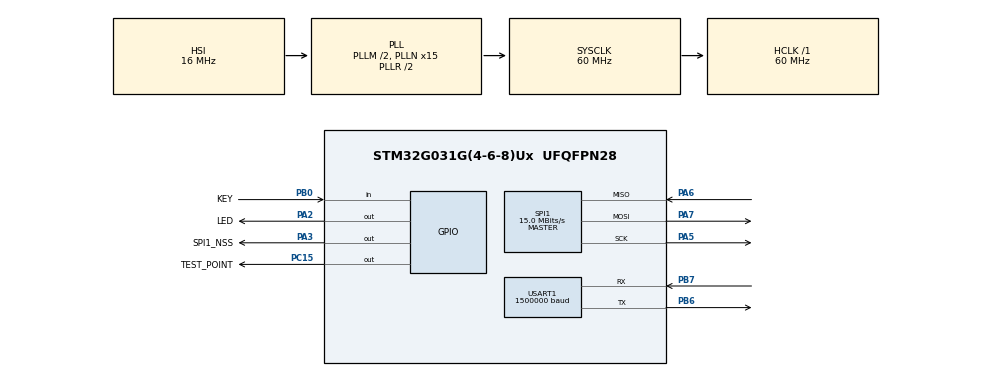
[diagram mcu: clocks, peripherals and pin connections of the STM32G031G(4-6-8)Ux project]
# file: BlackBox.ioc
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Dma.Request0=SPI1_RX
Dma.Request1=SPI1_TX
Dma.Request2=USART1_RX
Dma.SPI1_RX.0.Direction=DMA_PERIPH_TO_MEMORY
Dma.SPI1_RX.0.EventEnable=DISABLE
Dma.SPI1_RX.0.Instance=DMA1_Channel1
Dma.SPI1_RX.0.MemDataAlignment=DMA_MDATAALIGN_BYTE
Dma.SPI1_RX.0.MemInc=DMA_MINC_ENABLE
Dma.SPI1_RX.0.Mode=DMA_NORMAL
Dma.SPI1_RX.0.PeriphDataAlignment=DMA_PDATAALIGN_BYTE
Dma.SPI1_RX.0.PeriphInc=DMA_PINC_DISABLE
Dma.SPI1_RX.0.Polarity=HAL_DMAMUX_REQ_GEN_RISING
Dma.SPI1_RX.0.Priority=DMA_PRIORITY_LOW
Dma.SPI1_RX.0.RequestNumber=1
Dma.SPI1_RX.0.SignalID=NONE
Dma.SPI1_RX.0.SyncEnable=DISABLE
Dma.SPI1_RX.0.SyncPolarity=HAL_DMAMUX_SYNC_NO_EVENT
Dma.SPI1_RX.0.SyncRequestNumber=1
Dma.SPI1_RX.0.SyncSignalID=NONE
Dma.SPI1_TX.1.Direction=DMA_MEMORY_TO_PERIPH
Dma.SPI1_TX.1.EventEnable=DISABLE
Dma.SPI1_TX.1.Instance=DMA1_Channel2
Dma.SPI1_TX.1.MemDataAlignment=DMA_MDATAALIGN_BYTE
Dma.SPI1_TX.1.MemInc=DMA_MINC_ENABLE
Dma.SPI1_TX.1.Mode=DMA_NORMAL
Dma.SPI1_TX.1.PeriphDataAlignment=DMA_PDATAALIGN_BYTE
Dma.SPI1_TX.1.PeriphInc=DMA_PINC_DISABLE
Dma.SPI1_TX.1.Polarity=HAL_DMAMUX_REQ_GEN_RISING
Dma.SPI1_TX.1.Priority=DMA_PRIORITY_LOW
Dma.SPI1_TX.1.RequestNumber=1
Dma.SPI1_TX.1.SignalID=NONE
Dma.SPI1_TX.1.SyncEnable=DISABLE
Dma.SPI1_TX.1.SyncPolarity=HAL_DMAMUX_SYNC_NO_EVENT
Dma.SPI1_TX.1.SyncRequestNumber=1
Dma.SPI1_TX.1.SyncSignalID=NONE
Dma.USART1_RX.2.Direction=DMA_PERIPH_TO_MEMORY
Dma.USART1_RX.2.EventEnable=DISABLE
Dma.USART1_RX.2.Instance=DMA1_Channel3
Dma.USART1_RX.2.MemDataAlignment=DMA_MDATAALIGN_BYTE
Dma.USART1_RX.2.MemInc=DMA_MINC_ENABLE
Dma.USART1_RX.2.Mode=DMA_CIRCULAR
Dma.USART1_RX.2.PeriphDataAlignment=DMA_PDATAALIGN_BYTE
Dma.USART1_RX.2.PeriphInc=DMA_PINC_DISABLE
Dma.USART1_RX.2.Polarity=HAL_DMAMUX_REQ_GEN_RISING
Dma.USART1_RX.2.Priority=DMA_PRIORITY_LOW
Dma.USART1_RX.2.RequestNumber=1
Dma.USART1_RX.2.SignalID=NONE
Dma.USART1_RX.2.SyncEnable=DISABLE
Dma.USART1_RX.2.SyncPolarity=HAL_DMAMUX_SYNC_NO_EVENT
Dma.USART1_RX.2.SyncRequestNumber=1
Dma.USART1_RX.2.SyncSignalID=NONE
Mcu.Family=STM32G0
Mcu.Name=STM32G031G(4-6-8)Ux
Mcu.Package=UFQFPN28
NVIC.DMA1_Channel1_IRQn=true\:0\:0\:false\:false\:true\:false\:true
NVIC.DMA1_Channel2_3_IRQn=true\:0\:0\:false\:false\:true\:false\:true
NVIC.SPI1_IRQn=true\:0\:0\:false\:false\:true\:true\:true
NVIC.TIM17_IRQn=true\:0\:0\:false\:false\:true\:true\:true
NVIC.USART1_IRQn=true\:0\:0\:false\:false\:true\:true\:true
PA13.Mode=Serial_Wire
PA13.Signal=SYS_SWDIO
PA14-BOOT0.Mode=Serial_Wire
PA14-BOOT0.Signal=SYS_SWCLK
PA2.GPIO_Label=LED
PA2.PinState=GPIO_PIN_SET
PA2.Signal=GPIO_Output
PA3.GPIO_Label=SPI1_NSS
PA3.GPIO_Speed=GPIO_SPEED_FREQ_HIGH
PA3.PinState=GPIO_PIN_SET
PA3.Signal=GPIO_Output
PA5.GPIO_Speed=GPIO_SPEED_FREQ_VERY_HIGH
PA5.Mode=Full_Duplex_Master
PA5.Signal=SPI1_SCK
PA6.GPIO_Speed=GPIO_SPEED_FREQ_VERY_HIGH
PA6.Mode=Full_Duplex_Master
PA6.Signal=SPI1_MISO
PA7.GPIO_Speed=GPIO_SPEED_FREQ_VERY_HIGH
PA7.Mode=Full_Duplex_Master
PA7.Signal=SPI1_MOSI
PB0.GPIO_Label=KEY
PB0.Signal=GPIO_Input
PB6.Mode=Asynchronous
PB6.Signal=USART1_TX
PB7.Mode=Asynchronous
PB7.Signal=USART1_RX
PC15-OSC32_OUT\ (PC15).GPIO_Label=TEST_POINT
PC15-OSC32_OUT\ (PC15).Signal=GPIO_Output
ProjectManager.HeapSize=0x200
ProjectManager.StackSize=0x400
ProjectManager.TargetToolchain=STM32CubeIDE
RCC.ADCFreq_Value=60000000
RCC.AHBFreq_Value=60000000
RCC.CortexFreq_Value=60000000
RCC.EXTERNAL_CLOCK_VALUE=12288000
RCC.HCLKFreq_Value=60000000
RCC.HSE_VALUE=8000000
RCC.HSI_VALUE=16000000
RCC.LSE_VALUE=32768
RCC.PLLM=RCC_PLLM_DIV2
RCC.PLLN=15
RCC.SYSCLKFreq_VALUE=60000000
RCC.SYSCLKSource=RCC_SYSCLKSOURCE_PLLCLK
RCC.VCOOutputFreq_Value=120000000
SPI1.BaudRatePrescaler=SPI_BAUDRATEPRESCALER_4
SPI1.CalculateBaudRate=15.0 MBits/s
SPI1.Direction=SPI_DIRECTION_2LINES
SPI1.Mode=SPI_MODE_MASTER
SPI1.VirtualType=VM_MASTER
TIM16.Prescaler=59
TIM17.Period=10000
TIM17.Prescaler=60
USART1.BaudRate=1500000
USART1.VirtualMode-Asynchronous=VM_ASYNC
VP_TIM16_VS_ClockSourceINT.Mode=Enable_Timer
VP_TIM17_VS_ClockSourceINT.Mode=Enable_Timer
board=custom

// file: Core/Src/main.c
/* USER CODE BEGIN Header */
/**
  ******************************************************************************
  * @file           : main.c
  * @brief          : Main program body
  ******************************************************************************
  * @attention
  *
  * Copyright (c) 2022 STMicroelectronics.
  * All rights reserved.
  *
  * This software is licensed under terms that can be found in the LICENSE file
  * in the root directory of this software component.
  * If no LICENSE file comes with this software, it is provided AS-IS.
  *
  ******************************************************************************
  */
/* USER CODE END Header */
#include "main.h"

/* USER CODE BEGIN Includes */
#include "w25q.h"
#include "logger.h"
#include "led.h"
#include "cli.h"
/* USER CODE END Includes */

SPI_HandleTypeDef hspi1;
DMA_HandleTypeDef hdma_spi1_rx;
DMA_HandleTypeDef hdma_spi1_tx;

TIM_HandleTypeDef htim16;
TIM_HandleTypeDef htim17;

UART_HandleTypeDef huart1;
DMA_HandleTypeDef hdma_usart1_rx;

void SystemClock_Config(void);
static void MX_GPIO_Init(void);
static void MX_SPI1_Init(void);
static void MX_DMA_Init(void);
static void MX_USART1_UART_Init(void);
static void MX_TIM17_Init(void);
static void MX_TIM16_Init(void);

int main(void)
{
  /* USER CODE BEGIN 1 */
  enum status_t status;
  /* USER CODE END 1 */

  /* MCU Configuration--------------------------------------------------------*/

  /* Reset of all peripherals, Initializes the Flash interface and the Systick. */
  HAL_Init();

  /* Configure the system clock */
  SystemClock_Config();

  /* USER CODE BEGIN SysInit */

  // IMPORTANT!!!
  // MX_DMA_Init() must be called before MX_SPI1_Init()
  // CubeMX generate DMA after SPI init which causes
  MX_DMA_Init();
  #define MX_DMA_Init()  while (0) {};

  /* USER CODE END SysInit */

  /* Initialize all configured peripherals */
  MX_GPIO_Init();
  MX_SPI1_Init();
  MX_DMA_Init();
  MX_USART1_UART_Init();
  MX_TIM17_Init();
  MX_TIM16_Init();
  /* USER CODE BEGIN 2 */

  #undef MX_DMA_Init // End of workaround

  W25_ReadID();
  Logger_Init();
  LED_Init();
  LED_SetStatus(STATUS_IDLE_WRITE);

  while (1) { // WRITE loop

    status = Logger_WriteLoop();
    if (Logger_IsMemoryFull()) {
      status = STATUS_FULL;
    }
    if (Logger_IsFifoOverflow()) {
      status = STATUS_ERROR;
    }
    LED_SetStatus(status);

    if (isKeyPressed(1000)) {
      break;
    }
  }

  Logger_Stop();
  LED_SetStatus(STATUS_IDLE_READ);
  LED_Blink(3);
  while (!isKeyUnpressed(200)) {};
  CLI_Start();

  while (1) { // READ loop

    enum cli_cmd_t cmd;
    if (CLI_GetCommand(&cmd)) {
      LED_SetStatus(STATUS_BUSY);

      switch (cmd) {
      case CMD_READ:
        Logger_Read(0);
        break;
      case CMD_DUMP:
        Logger_Read(1);
        break;
      case CMD_ERASE:
        Logger_Erase();
        break;
      case CMD_INFO:
        Logger_SendInfo();
        break;
      case CMD_TEST:
        Logger_SelfTest();
        break;
      default:
        break;
      }
      LED_SetStatus(STATUS_IDLE_READ);
    }

    if (isKeyPressed(3000)) {
      break;
    }
  }

  LED_SetStatus(STATUS_BUSY);
  Logger_Erase();
  NVIC_SystemReset();

  /* USER CODE END 2 */

  /* Infinite loop */
  while (1)
  {

  }
}

void SystemClock_Config(void)
{
  RCC_OscInitTypeDef RCC_OscInitStruct = {0};
  RCC_ClkInitTypeDef RCC_ClkInitStruct = {0};

  /** Configure the main internal regulator output voltage
  */
  HAL_PWREx_ControlVoltageScaling(PWR_REGULATOR_VOLTAGE_SCALE1);
  /** Initializes the RCC Oscillators according to the specified parameters
  * in the RCC_OscInitTypeDef structure.
  */
  RCC_OscInitStruct.OscillatorType = RCC_OSCILLATORTYPE_HSI;
  RCC_OscInitStruct.HSIState = RCC_HSI_ON;
  RCC_OscInitStruct.HSIDiv = RCC_HSI_DIV1;
  RCC_OscInitStruct.HSICalibrationValue = RCC_HSICALIBRATION_DEFAULT;
  RCC_OscInitStruct.PLL.PLLState = RCC_PLL_ON;
  RCC_OscInitStruct.PLL.PLLSource = RCC_PLLSOURCE_HSI;
  RCC_OscInitStruct.PLL.PLLM = RCC_PLLM_DIV2;
  RCC_OscInitStruct.PLL.PLLN = 15;
  RCC_OscInitStruct.PLL.PLLP = RCC_PLLP_DIV2;
  RCC_OscInitStruct.PLL.PLLQ = RCC_PLLQ_DIV2;
  RCC_OscInitStruct.PLL.PLLR = RCC_PLLR_DIV2;
  if (HAL_RCC_OscConfig(&RCC_OscInitStruct) != HAL_OK)
  {
    Error_Handler();
  }
  /** Initializes the CPU, AHB and APB buses clocks
  */
  RCC_ClkInitStruct.ClockType = RCC_CLOCKTYPE_HCLK|RCC_CLOCKTYPE_SYSCLK
                              |RCC_CLOCKTYPE_PCLK1;
  RCC_ClkInitStruct.SYSCLKSource = RCC_SYSCLKSOURCE_PLLCLK;
  RCC_ClkInitStruct.AHBCLKDivider = RCC_SYSCLK_DIV1;
  RCC_ClkInitStruct.APB1CLKDivider = RCC_HCLK_DIV1;

  if (HAL_RCC_ClockConfig(&RCC_ClkInitStruct, FLASH_LATENCY_2) != HAL_OK)
  {
    Error_Handler();
  }
}

static void MX_SPI1_Init(void)
{

  /* SPI1 parameter configuration*/
  hspi1.Instance = SPI1;
  hspi1.Init.Mode = SPI_MODE_MASTER;
  hspi1.Init.Direction = SPI_DIRECTION_2LINES;
  hspi1.Init.DataSize = SPI_DATASIZE_8BIT;
  hspi1.Init.CLKPolarity = SPI_POLARITY_LOW;
  hspi1.Init.CLKPhase = SPI_PHASE_1EDGE;
  hspi1.Init.NSS = SPI_NSS_SOFT;
  hspi1.Init.BaudRatePrescaler = SPI_BAUDRATEPRESCALER_4;
  hspi1.Init.FirstBit = SPI_FIRSTBIT_MSB;
  hspi1.Init.TIMode = SPI_TIMODE_DISABLE;
  hspi1.Init.CRCCalculation = SPI_CRCCALCULATION_DISABLE;
  hspi1.Init.CRCPolynomial = 7;
  hspi1.Init.CRCLength = SPI_CRC_LENGTH_DATASIZE;
  hspi1.Init.NSSPMode = SPI_NSS_PULSE_ENABLE;
  if (HAL_SPI_Init(&hspi1) != HAL_OK)
  {
    Error_Handler();
  }

}

static void MX_TIM16_Init(void)
{

  htim16.Instance = TIM16;
  htim16.Init.Prescaler = 59;
  htim16.Init.CounterMode = TIM_COUNTERMODE_UP;
  htim16.Init.Period = 65535;
  htim16.Init.ClockDivision = TIM_CLOCKDIVISION_DIV1;
  htim16.Init.RepetitionCounter = 0;
  htim16.Init.AutoReloadPreload = TIM_AUTORELOAD_PRELOAD_DISABLE;
  if (HAL_TIM_Base_Init(&htim16) != HAL_OK)
  {
    Error_Handler();
  }

}

static void MX_TIM17_Init(void)
{

  htim17.Instance = TIM17;
  htim17.Init.Prescaler = 60;
  htim17.Init.CounterMode = TIM_COUNTERMODE_UP;
  htim17.Init.Period = 10000;
  htim17.Init.ClockDivision = TIM_CLOCKDIVISION_DIV1;
  htim17.Init.RepetitionCounter = 0;
  htim17.Init.AutoReloadPreload = TIM_AUTORELOAD_PRELOAD_DISABLE;
  if (HAL_TIM_Base_Init(&htim17) != HAL_OK)
  {
    Error_Handler();
  }

}

static void MX_USART1_UART_Init(void)
{

  huart1.Instance = USART1;
  huart1.Init.BaudRate = 1500000;
  huart1.Init.WordLength = UART_WORDLENGTH_8B;
  huart1.Init.StopBits = UART_STOPBITS_1;
  huart1.Init.Parity = UART_PARITY_NONE;
  huart1.Init.Mode = UART_MODE_TX_RX;
  huart1.Init.HwFlowCtl = UART_HWCONTROL_NONE;
  huart1.Init.OverSampling = UART_OVERSAMPLING_16;
  huart1.Init.OneBitSampling = UART_ONE_BIT_SAMPLE_DISABLE;
  huart1.Init.ClockPrescaler = UART_PRESCALER_DIV1;
  huart1.AdvancedInit.AdvFeatureInit = UART_ADVFEATURE_NO_INIT;
  if (HAL_UART_Init(&huart1) != HAL_OK)
  {
    Error_Handler();
  }
  if (HAL_UARTEx_SetTxFifoThreshold(&huart1, UART_TXFIFO_THRESHOLD_1_8) != HAL_OK)
  {
    Error_Handler();
  }
  if (HAL_UARTEx_SetRxFifoThreshold(&huart1, UART_RXFIFO_THRESHOLD_1_8) != HAL_OK)
  {
    Error_Handler();
  }
  if (HAL_UARTEx_DisableFifoMode(&huart1) != HAL_OK)
  {
    Error_Handler();
  }

}

static void MX_DMA_Init(void)
{

  /* DMA controller clock enable */
  __HAL_RCC_DMA1_CLK_ENABLE();

  /* DMA interrupt init */
  /* DMA1_Channel1_IRQn interrupt configuration */
  HAL_NVIC_SetPriority(DMA1_Channel1_IRQn, 0, 0);
  HAL_NVIC_EnableIRQ(DMA1_Channel1_IRQn);
  /* DMA1_Channel2_3_IRQn interrupt configuration */
  HAL_NVIC_SetPriority(DMA1_Channel2_3_IRQn, 0, 0);
  HAL_NVIC_EnableIRQ(DMA1_Channel2_3_IRQn);

}

static void MX_GPIO_Init(void)
{
  GPIO_InitTypeDef GPIO_InitStruct = {0};

  /* GPIO Ports Clock Enable */
  __HAL_RCC_GPIOC_CLK_ENABLE();
  __HAL_RCC_GPIOA_CLK_ENABLE();
  __HAL_RCC_GPIOB_CLK_ENABLE();

  /*Configure GPIO pin Output Level */
  HAL_GPIO_WritePin(TEST_POINT_GPIO_Port, TEST_POINT_Pin, GPIO_PIN_RESET);

  /*Configure GPIO pin Output Level */
  HAL_GPIO_WritePin(GPIOA, LED_Pin|SPI1_NSS_Pin, GPIO_PIN_SET);

  /*Configure GPIO pin : TEST_POINT_Pin */
  GPIO_InitStruct.Pin = TEST_POINT_Pin;
  GPIO_InitStruct.Mode = GPIO_MODE_OUTPUT_PP;
  GPIO_InitStruct.Pull = GPIO_NOPULL;
  GPIO_InitStruct.Speed = GPIO_SPEED_FREQ_LOW;
  HAL_GPIO_Init(TEST_POINT_GPIO_Port, &GPIO_InitStruct);

  /*Configure GPIO pin : LED_Pin */
  GPIO_InitStruct.Pin = LED_Pin;
  GPIO_InitStruct.Mode = GPIO_MODE_OUTPUT_PP;
  GPIO_InitStruct.Pull = GPIO_NOPULL;
  GPIO_InitStruct.Speed = GPIO_SPEED_FREQ_LOW;
  HAL_GPIO_Init(LED_GPIO_Port, &GPIO_InitStruct);

  /*Configure GPIO pin : SPI1_NSS_Pin */
  GPIO_InitStruct.Pin = SPI1_NSS_Pin;
  GPIO_InitStruct.Mode = GPIO_MODE_OUTPUT_PP;
  GPIO_InitStruct.Pull = GPIO_NOPULL;
  GPIO_InitStruct.Speed = GPIO_SPEED_FREQ_HIGH;
  HAL_GPIO_Init(SPI1_NSS_GPIO_Port, &GPIO_InitStruct);

  /*Configure GPIO pin : KEY_Pin */
  GPIO_InitStruct.Pin = KEY_Pin;
  GPIO_InitStruct.Mode = GPIO_MODE_INPUT;
  GPIO_InitStruct.Pull = GPIO_NOPULL;
  HAL_GPIO_Init(KEY_GPIO_Port, &GPIO_InitStruct);

}

void Error_Handler(void)
{
  __disable_irq();
  while (1)
  {
  }
}
